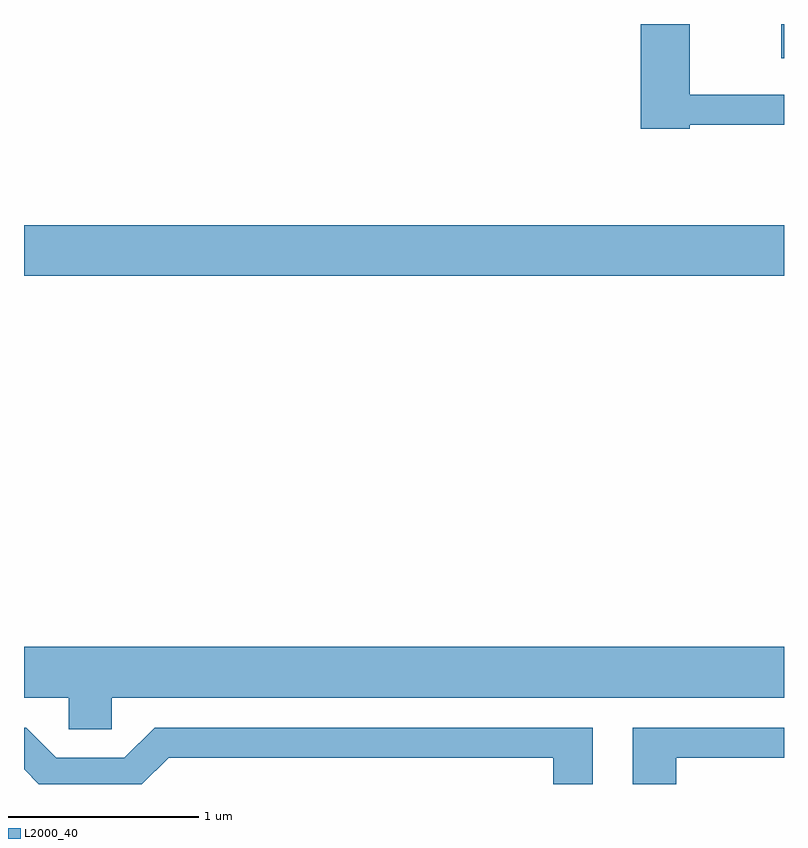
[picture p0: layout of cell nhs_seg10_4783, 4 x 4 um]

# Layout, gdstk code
import gdstk
lib = gdstk.Library(unit=1e-6, precision=1e-09)
def R(c, l, rs):  # rectangles x0, y0, x1, y1
    for r in rs: c.add(gdstk.rectangle(r[:2], r[2:], *l))
def P(c, l, *ps):  # polygons
    for p in ps: c.add(gdstk.Polygon(p, *l))
L2000_40 = (2000, 40)

nhs_seg10_4783 = lib.new_cell('nhs_seg10_4783')
R(nhs_seg10_4783, L2000_40, [(325.611,2167.196,329.611,2167.464), (329.596,2168.341,329.611,2168.522)])
P(nhs_seg10_4783, L2000_40, [(329.114,2167.991),(329.611,2167.991),(329.611,2168.149),(329.114,2168.149),(329.114,2168.522),(328.856,2168.522),(328.856,2167.971),(329.114,2167.971)],
  [(326.074,2164.976),(329.611,2164.976),(329.611,2165.244),(325.611,2165.244),(325.611,2164.976),(325.846,2164.976),(325.846,2164.811),(326.074,2164.811)],
  [(326.372,2164.661),(328.396,2164.661),(328.396,2164.522),(328.604,2164.522),(328.604,2164.819),(326.299,2164.819),(326.139,2164.659),(325.782,2164.659),(325.622,2164.819),(325.611,2164.819),(325.611,2164.599),(325.688,2164.522),(326.232,2164.522)],
  [(329.044,2164.661),(329.611,2164.661),(329.611,2164.819),(328.816,2164.819),(328.816,2164.522),(329.044,2164.522)])

lib.write_gds('nhs_seg10_4783.gds')
